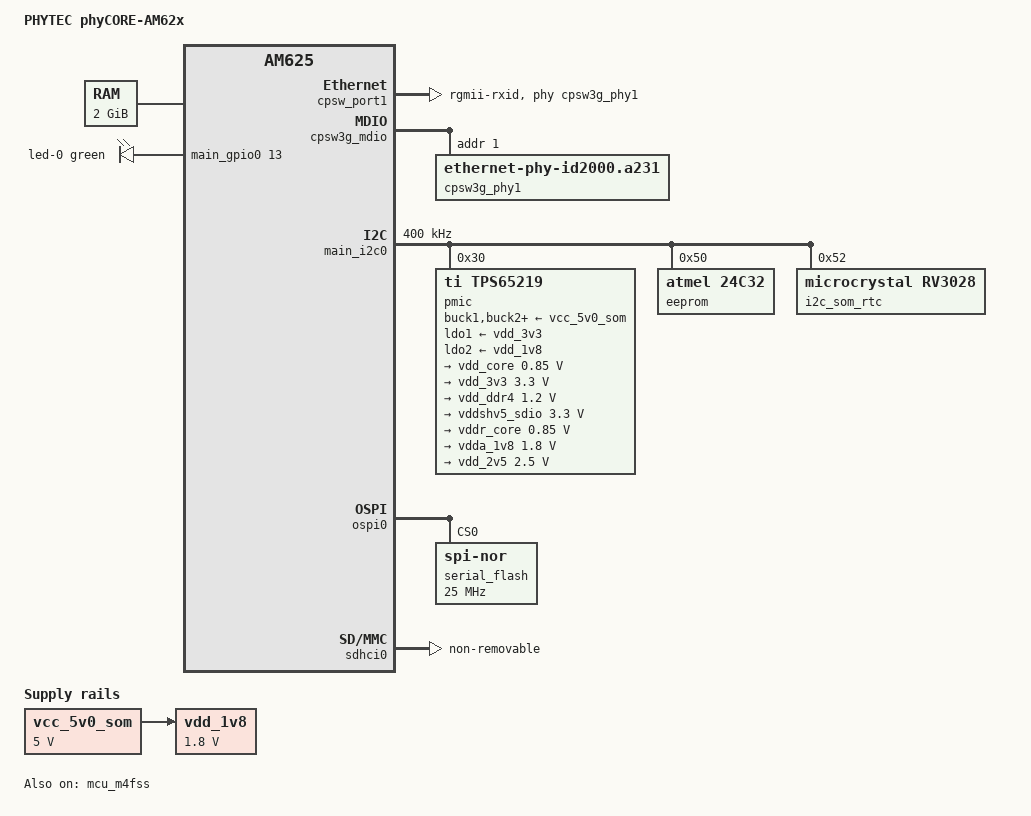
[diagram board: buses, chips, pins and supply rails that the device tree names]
// SPDX-License-Identifier: GPL-2.0-only OR MIT
/*
 * Copyright (C) 2022-2024 PHYTEC Messtechnik GmbH
 * Author: Wadim Egorov <w.egorov@phytec.de>
 *
 * Product homepage:
 * https://www.phytec.com/product/phycore-am62x
 */

#include <dt-bindings/gpio/gpio.h>
#include <dt-bindings/leds/common.h>
#include <dt-bindings/net/ti-dp83867.h>

/ {
	model = "PHYTEC phyCORE-AM62x";
	compatible = "phytec,am62-phycore-som", "ti,am625";

	aliases {
		ethernet0 = &cpsw_port1;
		gpio0 = &main_gpio0;
		gpio1 = &main_gpio1;
		i2c0 = &main_i2c0;
		mmc0 = &sdhci0;
		rtc0 = &i2c_som_rtc;
		rtc1 = &wkup_rtc0;
		spi0 = &ospi0;
	};

	memory@80000000 {
		device_type = "memory";
		reg = <0x00000000 0x80000000 0x00000000 0x80000000>;
	};

	reserved_memory: reserved-memory {
		#address-cells = <2>;
		#size-cells = <2>;
		ranges;

		ramoops@9ca00000 {
			compatible = "ramoops";
			reg = <0x00 0x9ca00000 0x00 0x00100000>;
			record-size = <0x8000>;
			console-size = <0x8000>;
			ftrace-size = <0x00>;
			pmsg-size = <0x8000>;
		};

		mcu_m4fss_dma_memory_region: m4f-dma-memory@9cb00000 {
			compatible = "shared-dma-pool";
			reg = <0x00 0x9cb00000 0x00 0x100000>;
			no-map;
		};

		mcu_m4fss_memory_region: m4f-memory@9cc00000 {
			compatible = "shared-dma-pool";
			reg = <0x00 0x9cc00000 0x00 0xe00000>;
			no-map;
		};

		secure_tfa_ddr: tfa@9e780000 {
			reg = <0x00 0x9e780000 0x00 0x80000>;
			alignment = <0x1000>;
			no-map;
		};

		secure_ddr: optee@9e800000 {
			reg = <0x00 0x9e800000 0x00 0x01800000>; /* for OP-TEE */
			alignment = <0x1000>;
			no-map;
		};

		wkup_r5fss0_core0_dma_memory_region: r5f-dma-memory@9db00000 {
			compatible = "shared-dma-pool";
			reg = <0x00 0x9db00000 0x00 0x00c00000>;
			no-map;
		};
	};

	vcc_5v0_som: regulator-vcc-5v0-som {
		compatible = "regulator-fixed";
		regulator-name = "VCC_5V0_SOM";
		regulator-min-microvolt = <5000000>;
		regulator-max-microvolt = <5000000>;
		regulator-always-on;
		regulator-boot-on;
	};

	vdd_1v8: regulator-vdd-1v8 {
		compatible = "regulator-fixed";
		regulator-name = "VDD_1V8";
		regulator-min-microvolt = <1800000>;
		regulator-max-microvolt = <1800000>;
		vin-supply = <&vcc_5v0_som>;
		regulator-always-on;
		regulator-boot-on;
	};

	leds {
		compatible = "gpio-leds";
		pinctrl-names = "default";
		pinctrl-0 = <&leds_pins_default>;

		led-0 {
			color = <LED_COLOR_ID_GREEN>;
			gpios = <&main_gpio0 13 GPIO_ACTIVE_HIGH>;
			linux,default-trigger = "heartbeat";
			function = LED_FUNCTION_HEARTBEAT;
		};
	};
};

&main_pmx0 {
	leds_pins_default: leds-default-pins {
		pinctrl-single,pins = <
			AM62X_IOPAD(0x034, PIN_OUTPUT, 7) /* (H21) OSPI0_CSN2.GPIO0_13 */
		>;
	};

	main_i2c0_pins_default: main-i2c0-default-pins {
		pinctrl-single,pins = <
			AM62X_IOPAD(0x1e0, PIN_INPUT_PULLUP, 0) /* (B16) I2C0_SCL */
			AM62X_IOPAD(0x1e4, PIN_INPUT_PULLUP, 0) /* (A16) I2C0_SDA */
		>;
	};

	main_mdio1_pins_default: main-mdio1-default-pins {
		pinctrl-single,pins = <
			AM62X_IOPAD(0x160, PIN_OUTPUT, 0) /* (AD24) MDIO0_MDC */
			AM62X_IOPAD(0x15c, PIN_INPUT, 0) /* (AB22) MDIO0_MDIO */
		>;
	};

	main_mmc0_pins_default: main-mmc0-default-pins {
		pinctrl-single,pins = <
			AM62X_IOPAD(0x220, PIN_INPUT_PULLUP, 0) /* (Y3) MMC0_CMD */
			AM62X_IOPAD(0x218, PIN_INPUT_PULLDOWN, 0) /* (AB1) MMC0_CLK */
			AM62X_IOPAD(0x214, PIN_INPUT_PULLUP, 0) /* (AA2) MMC0_DAT0 */
			AM62X_IOPAD(0x210, PIN_INPUT_PULLUP, 0) /* (AA1) MMC0_DAT1 */
			AM62X_IOPAD(0x20c, PIN_INPUT_PULLUP, 0) /* (AA3) MMC0_DAT2 */
			AM62X_IOPAD(0x208, PIN_INPUT_PULLUP, 0) /* (Y4) MMC0_DAT3 */
			AM62X_IOPAD(0x204, PIN_INPUT_PULLUP, 0) /* (AB2) MMC0_DAT4 */
			AM62X_IOPAD(0x200, PIN_INPUT_PULLUP, 0) /* (AC1) MMC0_DAT5 */
			AM62X_IOPAD(0x1fc, PIN_INPUT_PULLUP, 0) /* (AD2) MMC0_DAT6 */
			AM62X_IOPAD(0x1f8, PIN_INPUT_PULLUP, 0) /* (AC2) MMC0_DAT7 */
		>;
	};

	main_rgmii1_pins_default: main-rgmii1-default-pins {
		pinctrl-single,pins = <
			AM62X_IOPAD(0x14c, PIN_INPUT, 0) /* (AB17) RGMII1_RD0 */
			AM62X_IOPAD(0x150, PIN_INPUT, 0) /* (AC17) RGMII1_RD1 */
			AM62X_IOPAD(0x154, PIN_INPUT, 0) /* (AB16) RGMII1_RD2 */
			AM62X_IOPAD(0x158, PIN_INPUT, 0) /* (AA15) RGMII1_RD3 */
			AM62X_IOPAD(0x148, PIN_INPUT, 0) /* (AD17) RGMII1_RXC */
			AM62X_IOPAD(0x144, PIN_INPUT, 0) /* (AE17) RGMII1_RX_CTL */
			AM62X_IOPAD(0x134, PIN_OUTPUT, 0) /* (AE20) RGMII1_TD0 */
			AM62X_IOPAD(0x138, PIN_OUTPUT, 0) /* (AD20) RGMII1_TD1 */
			AM62X_IOPAD(0x13c, PIN_OUTPUT, 0) /* (AE18) RGMII1_TD2 */
			AM62X_IOPAD(0x140, PIN_OUTPUT, 0) /* (AD18) RGMII1_TD3 */
			AM62X_IOPAD(0x130, PIN_OUTPUT, 0) /* (AE19) RGMII1_TXC */
			AM62X_IOPAD(0x12c, PIN_OUTPUT, 0) /* (AD19) RGMII1_TX_CTL */
		>;
	};

	ospi0_pins_default: ospi0-default-pins {
		pinctrl-single,pins = <
			AM62X_IOPAD(0x000, PIN_OUTPUT, 0) /* (H24) OSPI0_CLK */
			AM62X_IOPAD(0x02c, PIN_OUTPUT, 0) /* (F23) OSPI0_CSn0 */
			AM62X_IOPAD(0x00c, PIN_INPUT, 0) /* (E25) OSPI0_D0 */
			AM62X_IOPAD(0x010, PIN_INPUT, 0) /* (G24) OSPI0_D1 */
			AM62X_IOPAD(0x014, PIN_INPUT, 0) /* (F25) OSPI0_D2 */
			AM62X_IOPAD(0x018, PIN_INPUT, 0) /* (F24) OSPI0_D3 */
			AM62X_IOPAD(0x01c, PIN_INPUT, 0) /* (J23) OSPI0_D4 */
			AM62X_IOPAD(0x020, PIN_INPUT, 0) /* (J25) OSPI0_D5 */
			AM62X_IOPAD(0x024, PIN_INPUT, 0) /* (H25) OSPI0_D6 */
			AM62X_IOPAD(0x028, PIN_INPUT, 0) /* (J22) OSPI0_D7 */
			AM62X_IOPAD(0x008, PIN_INPUT, 0) /* (J24) OSPI0_DQS */
		>;
	};

	pmic_irq_pins_default: pmic-irq-default-pins {
		pinctrl-single,pins = <
			AM62X_IOPAD(0x01f4, PIN_INPUT, 0) /* (D16) EXTINTn */
		>;
	};
};

&a53_opp_table {
	opp-1400000000 {
		opp-hz = /bits/ 64 <1400000000>;
		opp-supported-hw = <0x01 0x0004>;
	};
};

&cpsw3g {
	pinctrl-names = "default";
	pinctrl-0 = <&main_rgmii1_pins_default>;
};

&cpsw_port1 {
	phy-mode = "rgmii-rxid";
	phy-handle = <&cpsw3g_phy1>;
};

&cpsw3g_mdio {
	pinctrl-names = "default";
	pinctrl-0 = <&main_mdio1_pins_default>;
	status = "okay";

	cpsw3g_phy1: ethernet-phy@1 {
		compatible = "ethernet-phy-id2000.a231", "ethernet-phy-ieee802.3-c22";
		reg = <1>;
		ti,rx-internal-delay = <DP83867_RGMIIDCTL_2_00_NS>;
		ti,fifo-depth = <DP83867_PHYCR_FIFO_DEPTH_4_B_NIB>;
	};
};

&mailbox0_cluster0 {
	mbox_m4_0: mbox-m4-0 {
		ti,mbox-rx = <0 0 0>;
		ti,mbox-tx = <1 0 0>;
	};
};

&main_i2c0 {
	pinctrl-names = "default";
	pinctrl-0 = <&main_i2c0_pins_default>;
	clock-frequency = <400000>;
	status = "okay";

	pmic@30 {
		compatible = "ti,tps65219";
		reg = <0x30>;
		buck1-supply = <&vcc_5v0_som>;
		buck2-supply = <&vcc_5v0_som>;
		buck3-supply = <&vcc_5v0_som>;
		ldo1-supply = <&vdd_3v3>;
		ldo2-supply = <&vdd_1v8>;
		ldo3-supply = <&vcc_5v0_som>;
		ldo4-supply = <&vcc_5v0_som>;

		pinctrl-names = "default";
		pinctrl-0 = <&pmic_irq_pins_default>;
		interrupt-parent = <&gic500>;
		interrupts = <GIC_SPI 224 IRQ_TYPE_LEVEL_HIGH>;
		interrupt-controller;
		#interrupt-cells = <1>;

		ti,power-button;
		system-power-controller;

		regulators {
			vdd_core: buck1 {
				regulator-name = "VDD_CORE";
				regulator-min-microvolt = <850000>;
				regulator-max-microvolt = <850000>;
				regulator-boot-on;
				regulator-always-on;
			};

			vdd_3v3: buck2 {
				regulator-name = "VDD_3V3";
				regulator-min-microvolt = <3300000>;
				regulator-max-microvolt = <3300000>;
				regulator-boot-on;
				regulator-always-on;
			};

			vdd_ddr4: buck3 {
				regulator-name = "VDD_DDR4";
				regulator-min-microvolt = <1200000>;
				regulator-max-microvolt = <1200000>;
				regulator-boot-on;
				regulator-always-on;
			};

			vddshv5_sdio: ldo1 {
				regulator-name = "VDDSHV5_SDIO";
				regulator-min-microvolt = <3300000>;
				regulator-max-microvolt = <3300000>;
				regulator-allow-bypass;
				regulator-boot-on;
				regulator-always-on;
			};

			vddr_core: ldo2 {
				regulator-name = "VDDR_CORE";
				regulator-min-microvolt = <850000>;
				regulator-max-microvolt = <850000>;
				regulator-boot-on;
				regulator-always-on;
			};

			vdda_1v8: ldo3 {
				regulator-name = "VDDA_1V8";
				regulator-min-microvolt = <1800000>;
				regulator-max-microvolt = <1800000>;
				regulator-boot-on;
				regulator-always-on;
			};

			vdd_2v5: ldo4 {
				regulator-name = "VDD_2V5";
				regulator-min-microvolt = <2500000>;
				regulator-max-microvolt = <2500000>;
				regulator-boot-on;
				regulator-always-on;
			};
		};
	};

	eeprom@50 {
		compatible = "atmel,24c32";
		pagesize = <32>;
		reg = <0x50>;
	};

	i2c_som_rtc: rtc@52 {
		compatible = "microcrystal,rv3028";
		reg = <0x52>;
	};
};

&mcu_m4fss {
	mboxes = <&mailbox0_cluster0 &mbox_m4_0>;
	memory-region = <&mcu_m4fss_dma_memory_region>,
			<&mcu_m4fss_memory_region>;
	status = "okay";
};

&ospi0 {
	pinctrl-names = "default";
	pinctrl-0 = <&ospi0_pins_default>;
	status = "okay";

	serial_flash: flash@0 {
		compatible = "jedec,spi-nor";
		reg = <0x0>;
		spi-tx-bus-width = <8>;
		spi-rx-bus-width = <8>;
		spi-max-frequency = <25000000>;
		cdns,tshsl-ns = <60>;
		cdns,tsd2d-ns = <60>;
		cdns,tchsh-ns = <60>;
		cdns,tslch-ns = <60>;
		cdns,read-delay = <0>;
	};
};

&sdhci0 {
	pinctrl-names = "default";
	pinctrl-0 = <&main_mmc0_pins_default>;
	disable-wp;
	non-removable;
	status = "okay";
};
